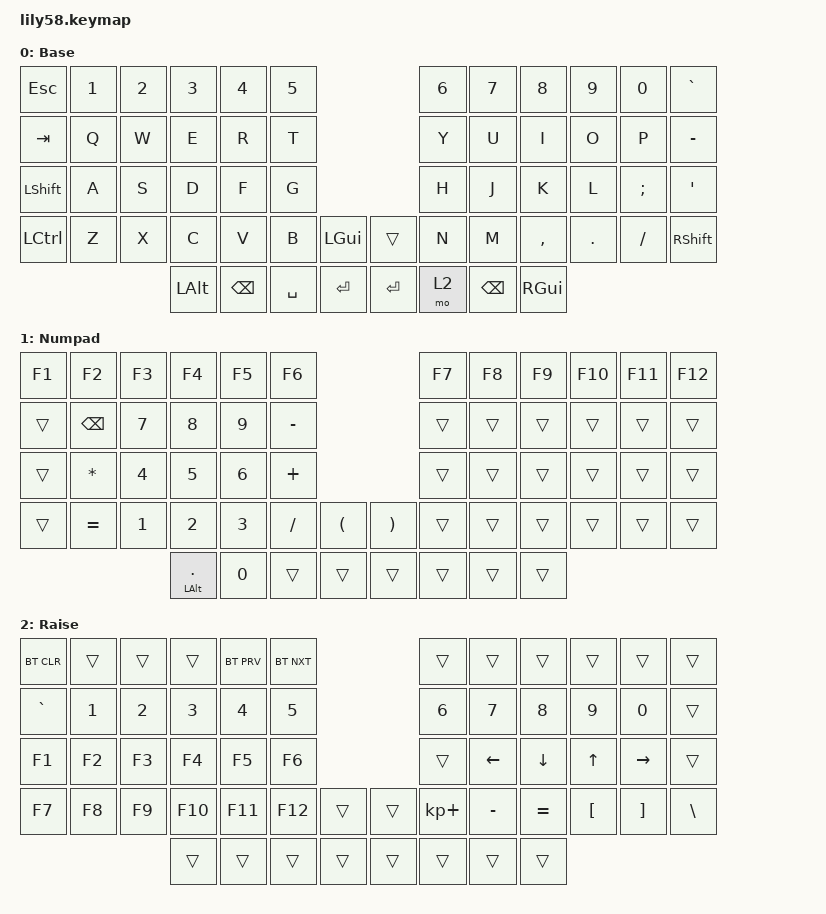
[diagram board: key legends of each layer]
/*
 * Copyright (c) 2020 The ZMK Contributors
 *
 * SPDX-License-Identifier: MIT
 */

#include <behaviors.dtsi>
#include <dt-bindings/zmk/bt.h>
#include <dt-bindings/zmk/keys.h>

/ {
    behaviors {
        holdtap: holdtap {
            compatible = "zmk,behavior-hold-tap";
            label = "HOLDTAP";
            bindings = <&kp>, <&kp>;

            #binding-cells = <2>;
            flavor = "tap-preferred";
            hold-trigger-key-positions = <50>;
            tapping-term-ms = <150>;
        };
    };

    combos {
        compatible = "zmk,combos";

        Base {
            bindings = <&to 0>;
            key-positions = <28 52>;
        };

        Numpad {
            bindings = <&to 1>;
            key-positions = <27 52>;
        };

        Upper {
            bindings = <&to 2>;
            key-positions = <26 52>;
        };
    };

    keymap {
        compatible = "zmk,keymap";

        Base {
            // ------------------------------------------------------------------------------------------------------------
            // |  ESC  |  1  |  2  |  3   |  4   |  5   |                   |  6   |  7    |  8    |  9   |   0   |   `   |
            // |  TAB  |  Q  |  W  |  E   |  R   |  T   |                   |  Y   |  U    |  I    |  O   |   P   |   -   |
            // |  CTRL |  A  |  S  |  D   |  F   |  G   |                   |  H   |  J    |  K    |  L   |   ;   |   '   |
            // | SHIFT |  Z  |  X  |  C   |  V   |  B   |   "["  |  |  "]"  |  N   |  M    |  ,    |  .   |   /   | SHIFT |
            //                     | ALT  | GUI  | LOWER|  SPACE |  | ENTER | RAISE| BSPC  | GUI   |

            display-name = "Base";
            bindings = <
&kp ESC           &kp N1  &kp N2  &kp N3    &kp N4    &kp N5                              &kp N6  &kp N7    &kp N8     &kp N9   &kp N0    &kp GRAVE
&kp TAB           &kp Q   &kp W   &kp E     &kp R     &kp T                               &kp Y   &kp U     &kp I      &kp O    &kp P     &kp MINUS
&kp LEFT_SHIFT    &kp A   &kp S   &kp D     &kp F     &kp G                               &kp H   &kp J     &kp K      &kp L    &kp SEMI  &kp SQT
&kp LEFT_CONTROL  &kp Z   &kp X   &kp C     &kp V     &kp B      &kp LEFT_GUI    &trans   &kp N   &kp M     &kp COMMA  &kp DOT  &kp FSLH  &kp RSHFT
                                  &kp LALT  &kp BSPC  &kp SPACE  &kp ENTER       &kp RET  &mo 2   &kp BSPC  &kp RGUI
            >;
        };

        Numpad {
            // ------------------------------------------------------------------------------------------------------------
            // | BTCLR | BT1 | BT2 |  BT3 |  BT4 |  BT5 |                   |      |       |       |      |       |       |
            // |  F1   |  F2 |  F3 |  F4  |  F5  |  F6  |                   |  F7  |  F8   |  F9   |  F10 |  F11  |  F12  |
            // |   `   |  !  |  @  |  #   |  $   |  %   |                   |  ^   |  &    |  *    |  (   |   )   |   ~   |
            // |       |     |     |      |      |      |        |  |       |      |  _    |  +    |  {   |   }   |  "|"  |
            //                     |      |      |      |        |  |       |      |       |       |

            display-name = "Numpad";
            bindings = <
&kp F1  &kp F2         &kp F3        &kp F4                    &kp F5        &kp F6                                                    &kp F7  &kp F8  &kp F9  &kp F10  &kp F11  &kp F12
&trans  &kp BACKSPACE  &kp N7        &kp N8                    &kp N9        &kp MINUS                                                 &trans  &trans  &trans  &trans   &trans   &trans
&trans  &kp ASTERISK   &kp NUMBER_4  &kp N5                    &kp NUMBER_6  &kp PLUS                                                  &trans  &trans  &trans  &trans   &trans   &trans
&trans  &kp EQUAL      &kp NUMBER_1  &kp N2                    &kp N3        &kp FSLH   &kp LEFT_PARENTHESIS    &kp RIGHT_PARENTHESIS  &trans  &trans  &trans  &trans   &trans   &trans
                                     &holdtap LEFT_ALT PERIOD  &kp NUMBER_0  &trans     &trans                  &trans                 &trans  &trans  &trans
            >;
        };

        Upper {
            // ------------------------------------------------------------------------------------------------------------
            // |       |     |     |      |      |      |                   |      |       |       |      |       |       |
            // |   `   |  1  |  2  |  3   |  4   |  5   |                   |  6   |   7   |   8   |  9   |   0   |       |
            // |   F1  |  F2 |  F3 |  F4  |  F5  |  F6  |                   |      |   <-  |   v   |  ^   |  ->   |       |
            // |   F7  |  F8 |  F9 |  F10 |  F11 |  F12 |        |  |       |  +   |   -   |   =   |  [   |   ]   |   \   |
            //                     |      |      |      |        |  |       |      |       |       |

            display-name = "Raise";
            bindings = <
&bt BT_CLR  &trans  &trans  &trans   &bt BT_PRV  &bt BT_NXT                    &trans       &trans     &trans     &trans    &trans     &trans
&kp GRAVE   &kp N1  &kp N2  &kp N3   &kp N4      &kp N5                        &kp N6       &kp N7     &kp N8     &kp N9    &kp N0     &trans
&kp F1      &kp F2  &kp F3  &kp F4   &kp F5      &kp F6                        &trans       &kp LEFT   &kp DOWN   &kp UP    &kp RIGHT  &trans
&kp F7      &kp F8  &kp F9  &kp F10  &kp F11     &kp F12     &trans    &trans  &kp KP_PLUS  &kp MINUS  &kp EQUAL  &kp LBKT  &kp RBKT   &kp BSLH
                            &trans   &trans      &trans      &trans    &trans  &trans       &trans     &trans
            >;
        };
    };
};
